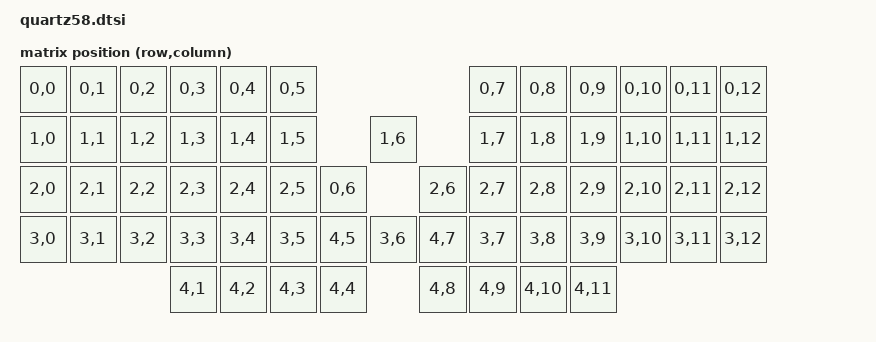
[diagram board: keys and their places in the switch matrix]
/*
 * Copyright (c) 2020 Pete Johanson
 *
 * SPDX-License-Identifier: MIT
 */

#include <dt-bindings/zmk/matrix_transform.h>
#include <dt-bindings/led/led.h>
#include "quartz58-pinctrl.dtsi"

/ {
    chosen {
        // zephyr,display = &oled;  // Disabled for nice view
        zmk,kscan = &kscan0;
        zmk,matrix_transform = &default_transform;
    };

    default_transform: keymap_transform_0 {
        compatible = "zmk,matrix-transform";
        columns = <13>;
        rows = <5>;
// Left side: 7 cols (0-6), Right side: 6 cols (7-12)
// | ESC | 1  | 2  | 3  | 4  | 5  |                           | 6  | 7  | 8  | 9  | 0  | `  |
// | TAB | Q  | W  | E  | R  | T  |     | up   |              | Y  | U  | I  | O  | P  | -  |
// | CTL | A  | S  | D  | F  | G  | left|      |right|        | H  | J  | K  | L  | ;  | '  |
// | SFT | Z  | X  | C  | V  | B  | [   | down |         | ] | N  | M  | ,  | .  | /  | SFT|
//                   | ALT| GUI| LO| SPC|                |ENT| RA|BSP | GUI|
        map = <
RC(0,0) RC(0,1) RC(0,2) RC(0,3) RC(0,4) RC(0,5)                                RC(0,7) RC(0,8) RC(0,9) RC(0,10) RC(0,11) RC(0,12)
RC(1,0) RC(1,1) RC(1,2) RC(1,3) RC(1,4) RC(1,5)         RC(1,6)                RC(1,7) RC(1,8) RC(1,9) RC(1,10) RC(1,11) RC(1,12)
RC(2,0) RC(2,1) RC(2,2) RC(2,3) RC(2,4) RC(2,5) RC(0,6)        RC(2,6)         RC(2,7) RC(2,8) RC(2,9) RC(2,10) RC(2,11) RC(2,12)
RC(3,0) RC(3,1) RC(3,2) RC(3,3) RC(3,4) RC(3,5) RC(4,5) RC(3,6)        RC(4,7) RC(3,7) RC(3,8) RC(3,9) RC(3,10) RC(3,11) RC(3,12)
                        RC(4,1) RC(4,2) RC(4,3) RC(4,4)                RC(4,8) RC(4,9) RC(4,10) RC(4,11)
        >;
    };

    kscan0: kscan {
        compatible = "zmk,kscan-gpio-matrix";
        wakeup-source;
        diode-direction = "col2row";
        // GPIO pins will be defined in left/right overlays
    };
};

// Custom nice!view SPI bus - required by nice_view_gem shield
nice_view_spi: &spi1 {
    compatible = "nordic,nrf-spim";
    status = "okay";
    
    pinctrl-0 = <&spi1_default>;
    pinctrl-1 = <&spi1_sleep>;
    pinctrl-names = "default", "sleep";
    
    // CS pin D4 (P0.5) - adjust to match your hardware
    cs-gpios = <&pro_micro 4 GPIO_ACTIVE_HIGH>;
};
